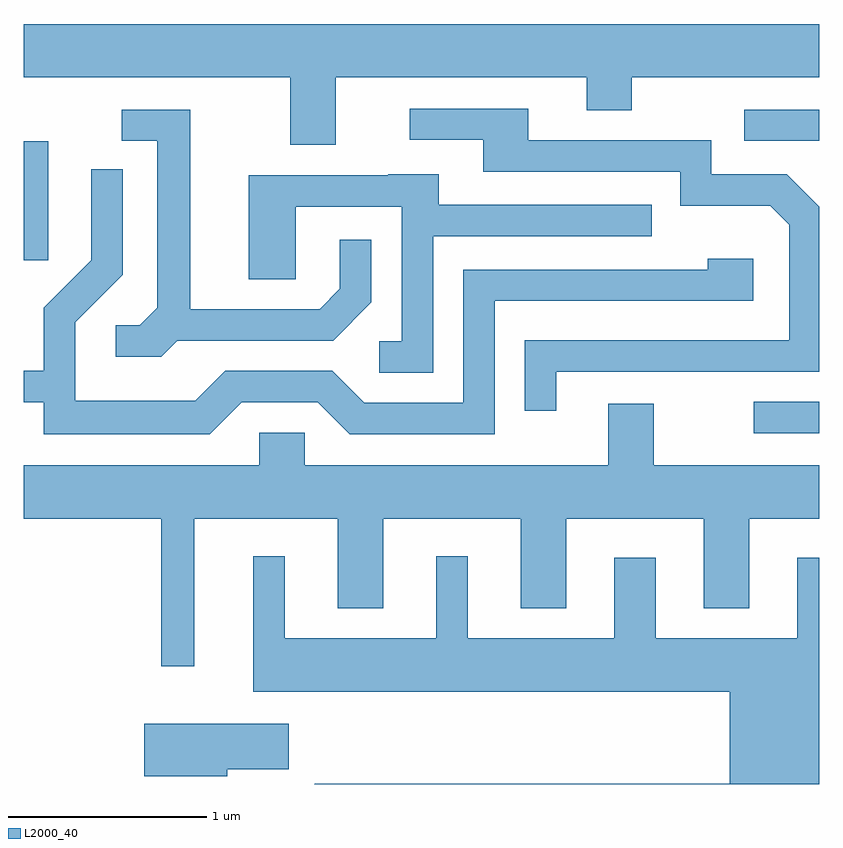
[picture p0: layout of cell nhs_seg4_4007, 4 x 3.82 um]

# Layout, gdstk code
import gdstk
lib = gdstk.Library(unit=1e-6, precision=1e-09)
def R(c, l, rs):  # rectangles x0, y0, x1, y1
    for r in rs: c.add(gdstk.rectangle(r[:2], r[2:], *l))
def P(c, l, *ps):  # polygons
    for p in ps: c.add(gdstk.Polygon(p, *l))
L2000_40 = (2000, 40)

nhs_seg4_4007 = lib.new_cell('nhs_seg4_4007')
R(nhs_seg4_4007, L2000_40, [(305.283,1381.746,305.611,1381.904), (301.611,1382.616,301.734,1383.214), (305.233,1383.216,305.611,1383.374)])
P(nhs_seg4_4007, L2000_40, [(303.179,1383.536),(304.441,1383.536),(304.441,1383.371),(304.669,1383.371),(304.669,1383.536),(305.611,1383.536),(305.611,1383.804),(301.611,1383.804),(301.611,1383.536),(302.951,1383.536),(302.951,1383.196),(303.179,1383.196)],
  [(304.289,1382.056),(305.611,1382.056),(305.611,1382.885),(305.447,1383.049),(305.069,1383.049),(305.069,1383.219),(304.149,1383.219),(304.149,1383.379),(303.553,1383.379),(303.553,1383.221),(303.921,1383.221),(303.921,1383.061),(304.911,1383.061),(304.911,1382.891),(305.364,1382.891),(305.461,1382.794),(305.461,1382.214),(304.131,1382.214),(304.131,1381.858),(304.289,1381.858)],
  [(302.382,1382.211),(303.167,1382.211),(303.359,1382.404),(303.359,1382.718),(303.201,1382.718),(303.201,1382.472),(303.099,1382.369),(302.449,1382.369),(302.449,1383.374),(302.103,1383.374),(302.103,1383.216),(302.281,1383.216),(302.281,1382.377),(302.194,1382.289),(302.073,1382.289),(302.073,1382.131),(302.302,1382.131)],
  [(302.707,1381.901),(303.089,1381.901),(303.249,1381.741),(303.979,1381.741),(303.979,1382.411),(305.279,1382.411),(305.279,1382.624),(305.051,1382.624),(305.051,1382.569),(303.821,1382.569),(303.821,1381.899),(303.322,1381.899),(303.162,1382.059),(302.624,1382.059),(302.474,1381.909),(301.869,1381.909),(301.869,1382.304),(302.109,1382.544),(302.109,1383.073),(301.951,1383.073),(301.951,1382.617),(301.711,1382.377),(301.711,1382.059),(301.611,1382.059),(301.611,1381.901),(301.711,1381.901),(301.711,1381.741),(302.547,1381.741)],
  [(303.669,1382.736),(304.768,1382.736),(304.768,1382.894),(303.699,1382.894),(303.699,1383.049),(303.445,1383.049),(303.445,1383.044),(302.741,1383.044),(302.741,1382.521),(302.979,1382.521),(302.979,1382.886),(303.511,1382.886),(303.511,1382.209),(303.398,1382.209),(303.398,1382.051),(303.669,1382.051)],
  [(303.024,1381.749),(302.796,1381.749),(302.796,1381.584),(301.611,1381.584),(301.611,1381.316),(302.301,1381.316),(302.301,1380.573),(302.469,1380.573),(302.469,1381.316),(303.191,1381.316),(303.191,1380.866),(303.419,1380.866),(303.419,1381.316),(304.111,1381.316),(304.111,1380.866),(304.339,1380.866),(304.339,1381.316),(305.031,1381.316),(305.031,1380.866),(305.259,1380.866),(305.259,1381.316),(305.611,1381.316),(305.611,1381.584),(304.779,1381.584),(304.779,1381.894),(304.551,1381.894),(304.551,1381.584),(303.024,1381.584)],
  [(305.611,1381.119),(305.501,1381.119),(305.501,1380.714),(304.789,1380.714),(304.789,1381.119),(304.581,1381.119),(304.581,1380.714),(303.844,1380.714),(303.844,1381.128),(303.686,1381.128),(303.686,1380.714),(302.924,1380.714),(302.924,1381.128),(302.766,1381.128),(302.766,1380.446),(305.161,1380.446),(305.161,1379.984),(303.074,1379.984),(303.072,1379.982),(305.611,1379.982)],
  [(302.634,1380.056),(302.944,1380.056),(302.944,1380.284),(302.216,1380.284),(302.216,1380.021),(302.634,1380.021)])

lib.write_gds('nhs_seg4_4007.gds')
